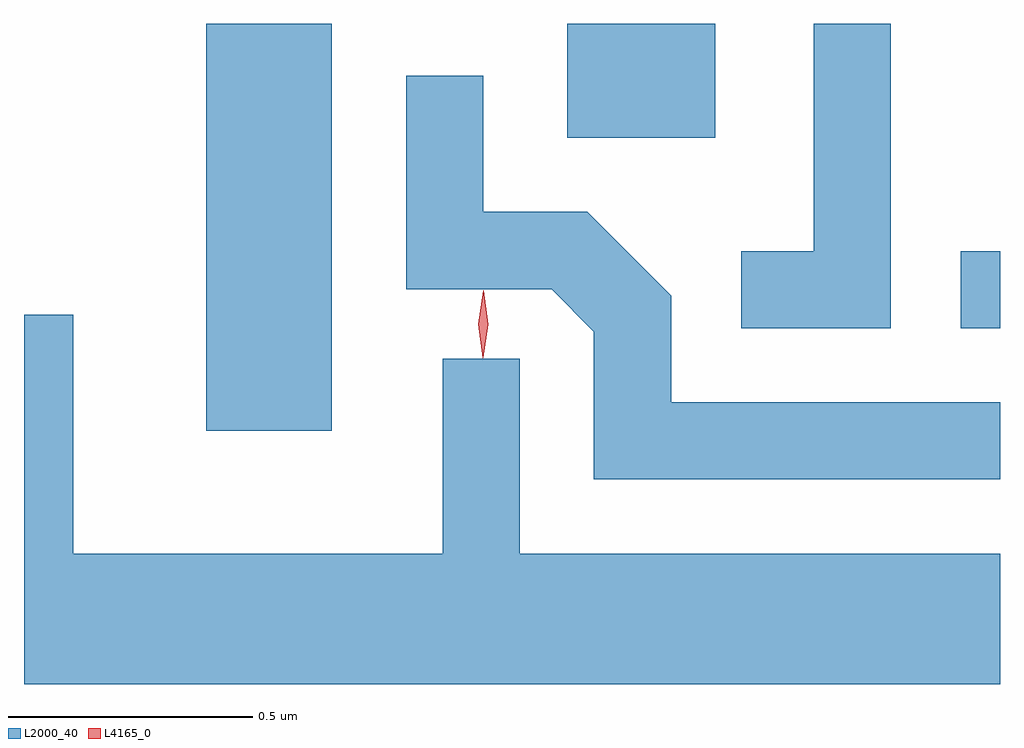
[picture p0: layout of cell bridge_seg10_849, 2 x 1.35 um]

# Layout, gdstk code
import gdstk
lib = gdstk.Library(unit=1e-6, precision=1e-09)
def R(c, l, rs):  # rectangles x0, y0, x1, y1
    for r in rs: c.add(gdstk.rectangle(r[:2], r[2:], *l))
def P(c, l, *ps):  # polygons
    for p in ps: c.add(gdstk.Polygon(p, *l))
L2000_40 = (2000, 40)
L4165_0 = (4165, 0)

bridge_seg10_849 = lib.new_cell('bridge_seg10_849')
R(bridge_seg10_849, L2000_40, [(381.736,2103.336,381.994,2104.17), (383.283,2103.546,383.363,2103.704), (382.476,2103.936,382.779,2104.17)])
P(bridge_seg10_849, L2000_40, [(383.139,2104.17),(382.981,2104.17),(382.981,2103.704),(382.833,2103.704),(382.833,2103.546),(383.139,2103.546)],
  [(383.363,2103.394),(382.689,2103.394),(382.689,2103.612),(382.517,2103.784),(382.304,2103.784),(382.304,2104.063),(382.146,2104.063),(382.146,2103.626),(382.444,2103.626),(382.531,2103.539),(382.531,2103.236),(383.363,2103.236)],
  [(383.363,2103.084),(382.379,2103.084),(382.379,2103.483),(382.221,2103.483),(382.221,2103.084),(381.464,2103.084),(381.464,2103.573),(381.363,2103.573),(381.363,2102.816),(383.363,2102.816)])
P(bridge_seg10_849, L4165_0, [(382.303,2103.484),(382.303,2103.485),(382.294,2103.554),(382.304,2103.623),(382.305,2103.624),(382.305,2103.623),(382.314,2103.554),(382.304,2103.485)],
  [(382.303,2103.488),(382.303,2103.488),(382.294,2103.554),(382.304,2103.62),(382.304,2103.621),(382.305,2103.62),(382.314,2103.554),(382.304,2103.488)])

lib.write_gds('bridge_seg10_849.gds')
